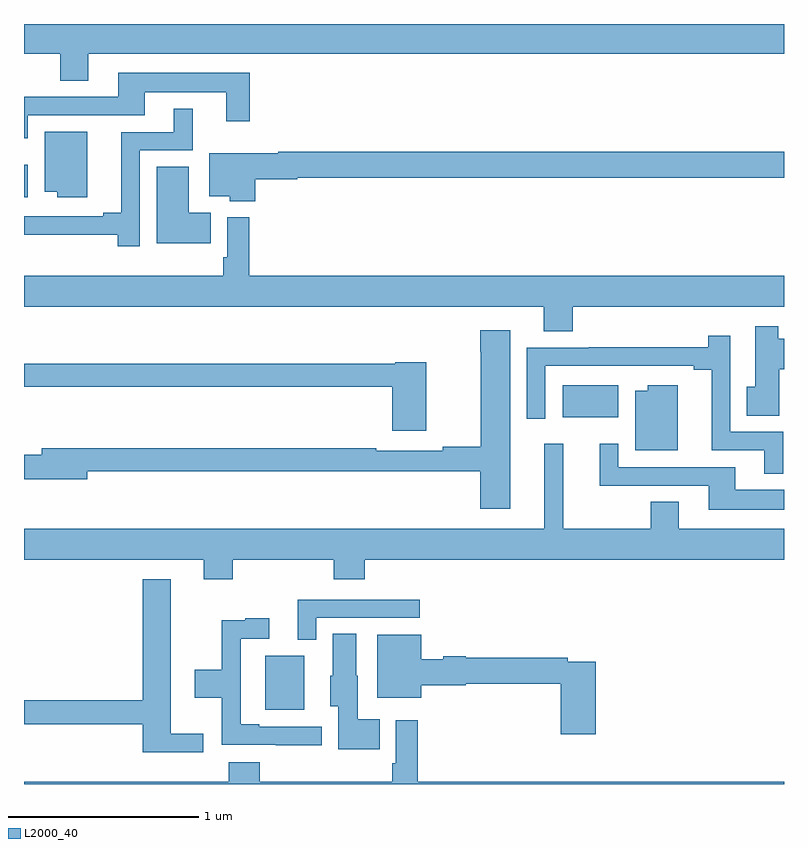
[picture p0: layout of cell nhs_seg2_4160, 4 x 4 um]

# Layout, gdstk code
import gdstk
lib = gdstk.Library(unit=1e-6, precision=1e-09)
def R(c, l, rs):  # rectangles x0, y0, x1, y1
    for r in rs: c.add(gdstk.rectangle(r[:2], r[2:], *l))
def P(c, l, *ps):  # polygons
    for p in ps: c.add(gdstk.Polygon(p, *l))
L2000_40 = (2000, 40)

nhs_seg2_4160 = lib.new_cell('nhs_seg2_4160')
R(nhs_seg2_4160, L2000_40, [(336.269,636.191,336.475,636.475), (337.835,637.73,338.128,637.9), (335,638.888,335.02,639.058)])
P(nhs_seg2_4160, L2000_40, [(339,639.8),(335,639.8),(335,639.644),(335.191,639.644),(335.191,639.502),(335.338,639.502),(335.338,639.644),(339,639.644)],
  [(335.019,639.321),(335.635,639.321),(335.635,639.44),(336.065,639.44),(336.065,639.288),(336.187,639.288),(336.187,639.544),(335.495,639.544),(335.495,639.417),(335,639.417),(335,639.198),(335.019,639.198)],
  [(335.61,639.135),(335.887,639.135),(335.887,639.355),(335.789,639.355),(335.789,639.231),(335.513,639.231),(335.513,638.807),(335.417,638.807),(335.417,638.787),(335,638.787),(335,638.69),(335.494,638.69),(335.494,638.631),(335.61,638.631)],
  [(335.332,639.232),(335.108,639.232),(335.108,638.918),(335.174,638.918),(335.174,638.888),(335.332,638.888)],
  [(336.218,638.984),(336.438,638.984),(336.438,638.992),(339,638.992),(339,639.128),(336.338,639.128),(336.338,639.121),(335.975,639.121),(335.975,638.894),(336.084,638.894),(336.084,638.867),(336.218,638.867)],
  [(335.984,638.806),(335.866,638.806),(335.866,639.05),(335.699,639.05),(335.699,638.645),(335.984,638.645)],
  [(337.889,638.312),(339,638.312),(339,638.476),(336.185,638.476),(336.185,638.782),(336.069,638.782),(336.069,638.572),(336.049,638.572),(336.049,638.476),(335,638.476),(335,638.312),(337.736,638.312),(337.736,638.182),(337.889,638.182)],
  [(338.974,637.982),(339,637.982),(339,638.143),(338.971,638.143),(338.971,638.209),(338.849,638.209),(338.849,637.89),(338.803,637.89),(338.803,637.738),(338.974,637.738)],
  [(337.558,638.188),(337.4,638.188),(337.4,638.075),(337.405,638.075),(337.405,637.574),(337.204,637.574),(337.204,637.554),(336.854,637.554),(336.854,637.567),(335.093,637.567),(335.093,637.533),(335,637.533),(335,637.403),(335.332,637.403),(335.332,637.446),(337.4,637.446),(337.4,637.248),(337.558,637.248)],
  [(338.995,637.653),(338.718,637.653),(338.718,638.158),(338.602,638.158),(338.602,638.099),(337.972,638.099),(337.972,638.097),(337.647,638.097),(337.647,637.722),(337.743,637.722),(337.743,638.001),(338.525,638.001),(338.525,637.981),(338.621,637.981),(338.621,637.557),(338.897,637.557),(338.897,637.433),(338.995,637.433)],
  [(337.116,638.019),(336.954,638.019),(336.954,638.011),(335,638.011),(335,637.89),(336.938,637.89),(336.938,637.659),(337.116,637.659)],
  [(338.44,637.9),(338.282,637.9),(338.282,637.87),(338.216,637.87),(338.216,637.556),(338.44,637.556)],
  [(339,637.348),(338.743,637.348),(338.743,637.467),(338.127,637.467),(338.127,637.591),(338.03,637.591),(338.03,637.371),(338.603,637.371),(338.603,637.244),(339,637.244)],
  [(336.098,636.98),(336.629,636.98),(336.629,636.878),(336.794,636.878),(336.794,636.98),(339,636.98),(339,637.144),(338.446,637.144),(338.446,637.286),(338.299,637.286),(338.299,637.144),(337.838,637.144),(337.838,637.591),(337.739,637.591),(337.739,637.144),(335,637.144),(335,636.98),(335.945,636.98),(335.945,636.878),(336.098,636.878)],
  [(335.944,636.065),(335.773,636.065),(335.773,636.877),(335.624,636.877),(335.624,636.242),(335,636.242),(335,636.114),(335.624,636.114),(335.624,635.966),(335.944,635.966)],
  [(336.537,636.675),(337.084,636.675),(337.084,636.771),(336.44,636.771),(336.44,636.56),(336.537,636.56)],
  [(336.568,636.102),(336.238,636.102),(336.238,636.115),(336.141,636.115),(336.141,636.564),(336.292,636.564),(336.292,636.673),(336.164,636.673),(336.164,636.662),(336.04,636.662),(336.04,636.402),(335.898,636.402),(335.898,636.254),(336.04,636.254),(336.04,636.006),(336.325,636.006),(336.325,636.005),(336.568,636.005)],
  [(336.872,636.142),(336.757,636.142),(336.757,636.369),(336.748,636.369),(336.748,636.59),(336.626,636.59),(336.626,636.369),(336.611,636.369),(336.611,636.21),(336.653,636.21),(336.653,635.984),(336.872,635.984)],
  [(338.009,636.444),(337.862,636.444),(337.862,636.464),(337.326,636.464),(337.326,636.472),(337.206,636.472),(337.206,636.457),(337.09,636.457),(337.09,636.586),(336.86,636.586),(336.86,636.254),(337.09,636.254),(337.09,636.32),(337.326,636.32),(337.326,636.328),(337.826,636.328),(337.826,636.063),(338.009,636.063)],
  [(339,635.812),(337.073,635.812),(337.073,636.136),(336.957,636.136),(336.957,635.908),(336.937,635.908),(336.937,635.812),(336.242,635.812),(336.242,635.914),(336.077,635.914),(336.077,635.812),(335,635.812),(335,635.8),(339,635.8)])

lib.write_gds('nhs_seg2_4160.gds')
